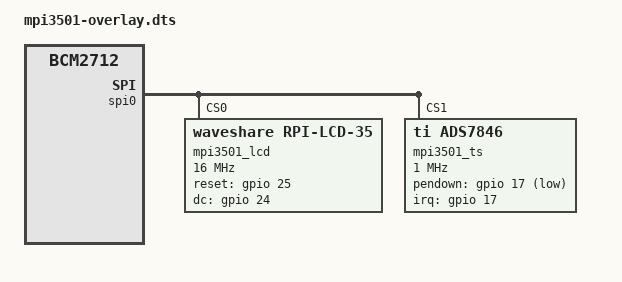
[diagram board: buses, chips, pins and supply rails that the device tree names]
/*
 * Device Tree Overlay for MPI3501 3.5" Raspberry Pi Touch Display
 *
 * Hardware:
 *   - Display Controller : Ilitek ILI9486 (480x320, RGB565)
 *   - SPI Bridge         : 74HC4040 x3 + 74HC04D (16-bit serial-to-parallel)
 *   - Touch Controller   : XPT2046 / HR2046 (ADS7846 compatible, 8-bit SPI)
 *
 * Pin Mapping (26-pin Raspberry Pi GPIO header):
 *   - Pin 18 (GPIO 24)          : LCD DC / RS
 *   - Pin 22 (GPIO 25)          : LCD Reset (Active LOW on hardware)
 *   - Pin 24 (GPIO 8, SPI0 CE0) : LCD Chip Select
 *   - Pin 26 (GPIO 7, SPI0 CE1) : Touch Chip Select
 *   - Pin 11 (GPIO 17)          : Touch Pen-Down Interrupt (Active LOW)
 *   - Pin 19 (GPIO 10)          : SPI0 MOSI
 *   - Pin 21 (GPIO 9)           : SPI0 MISO
 *   - Pin 23 (GPIO 11)          : SPI0 SCLK
 *
 * Compile directly with dtc (no C preprocessor required):
 *   dtc -@ -I dts -O dtb -o overlays/mpi3501.dtbo overlays/mpi3501-overlay.dts
 */

/dts-v1/;
/plugin/;

/ {
	compatible = "brcm,bcm2835", "brcm,bcm2711", "brcm,bcm2712";

	/* Enable SPI0 controller */
	fragment@0 {
		target = <&spi0>;
		__overlay__ {
			status = "okay";
		};
	};

	/* Disable generic spidev on CE0 (used by ILI9486 LCD) */
	fragment@1 {
		target = <&spidev0>;
		__overlay__ {
			status = "disabled";
		};
	};

	/* Disable generic spidev on CE1 (used by XPT2046 Touch) */
	fragment@2 {
		target = <&spidev1>;
		__overlay__ {
			status = "disabled";
		};
	};

	/* Configure MPI3501 control GPIOs (leaves GPIO 22 / Pin 15 free) */
	fragment@3 {
		target = <&gpio>;
		__overlay__ {
			mpi3501_pins: mpi3501_pins {
				brcm,pins = <17 25 24>;     /* T_IRQ, LCD_RST, LCD_DC */
				brcm,function = <0 1 1>;    /* in, out, out */
				brcm,pull = <2 0 0>;        /* pull-up on T_IRQ, none on outputs */
			};
		};
	};

	/* Configure ILI9486 LCD (CE0) and XPT2046 Touch (CE1) on SPI0 */
	fragment@4 {
		target = <&spi0>;
		__overlay__ {
			#address-cells = <1>;
			#size-cells = <0>;

			mpi3501_lcd: mpi3501@0 {
				compatible = "waveshare,rpi-lcd-35";
				reg = <0>;
				pinctrl-names = "default";
				pinctrl-0 = <&mpi3501_pins>;

				spi-max-frequency = <16000000>;
				rotation = <180>;
				rotate = <180>;
				bgr;
				fps = <30>;
				buswidth = <8>;
				regwidth = <16>;

				/*
				 * Note: In Linux drm_mipi_dbi (mipi_dbi_hw_reset), the driver asserts
				 * reset with gpiod_set_value(0) and releases with gpiod_set_value(1).
				 * Therefore GPIO_ACTIVE_HIGH (0) is required for DRM mode so physical
				 * GPIO 25 goes LOW to reset and stays HIGH during normal operation.
				 */
				reset-gpios = <&gpio 25 0>; /* 0 = GPIO_ACTIVE_HIGH */
				dc-gpios = <&gpio 24 0>;    /* 0 = GPIO_ACTIVE_HIGH */
				debug = <0>;

				/* Fallback init sequence if switched to legacy fbtft mode */
				init = <0x10000b0 0x00
				        0x1000011
				        0x20000ff
				        0x100003a 0x55
				        0x1000036 0x28
				        0x10000c2 0x44
				        0x10000c5 0x00 0x00 0x00 0x00
				        0x10000e0 0x0f 0x1f 0x1c 0x0c 0x0f 0x08 0x48 0x98 0x37 0x0a 0x13 0x04 0x11 0x0d 0x00
				        0x10000e1 0x0f 0x32 0x2e 0x0b 0x0d 0x05 0x47 0x75 0x37 0x06 0x10 0x03 0x24 0x20 0x00
				        0x10000e2 0x0f 0x32 0x2e 0x0b 0x0d 0x05 0x47 0x75 0x37 0x06 0x10 0x03 0x24 0x20 0x00
				        0x1000011
				        0x1000029>;
			};

			mpi3501_ts: mpi3501-ts@1 {
				compatible = "ti,ads7846";
				reg = <1>;

				spi-max-frequency = <1000000>;
				interrupts = <17 2>;        /* GPIO 17, high-to-low falling edge */
				interrupt-parent = <&gpio>;
				pendown-gpio = <&gpio 17 1>; /* 1 = GPIO_ACTIVE_LOW */

				/* Factory MPI3501 ADC bounds (from goodtft/LCD-show) */
				ti,x-min = /bits/ 16 <268>;
				ti,x-max = /bits/ 16 <3880>;
				ti,y-min = /bits/ 16 <227>;
				ti,y-max = /bits/ 16 <3936>;

				/*
				 * CRITICAL FIX for dead zones on high-X side of the screen:
				 * In drivers/input/touchscreen/ads7846.c:
				 *   Rt = (z2 - z1) * x_plate_ohms * x / (4096 * z1)
				 *   if (Rt > pressure_max) return; // drops touch!
				 * With x_plate_ohms=60..100 and pressure_max=255, touches where
				 * x > 2500 produce Rt > 255 and get silently dropped!
				 * Setting x-plate-ohms=15 and pressure-max=4095 prevents false drops.
				 */
				ti,x-plate-ohms = /bits/ 16 <15>;
				ti,pressure-max = /bits/ 16 <4095>;

				/* Settling & pen-up recheck to prevent lift-off mistouches */
				ti,settle-delay-usec = /bits/ 16 <150>;
				ti,penirq-recheck-delay-usecs = /bits/ 16 <100>;
				ti,debounce-max = /bits/ 16 <5>;
				ti,debounce-tol = /bits/ 16 <300>;
				ti,debounce-rep = /bits/ 16 <0>;
				wakeup-source;
			};
		};
	};

	__overrides__ {
		speed =  <&mpi3501_lcd>,"spi-max-frequency:0";
		rotate = <&mpi3501_lcd>,"rotation:0",
		         <&mpi3501_lcd>,"rotate:0";
		fps =    <&mpi3501_lcd>,"fps:0";
		debug =  <&mpi3501_lcd>,"debug:0";
		xohms =  <&mpi3501_ts>,"ti,x-plate-ohms;0";
		xmin =   <&mpi3501_ts>,"ti,x-min;0";
		xmax =   <&mpi3501_ts>,"ti,x-max;0";
		ymin =   <&mpi3501_ts>,"ti,y-min;0";
		ymax =   <&mpi3501_ts>,"ti,y-max;0";
		invx =   <&mpi3501_ts>,"touchscreen-inverted-x?";
		invy =   <&mpi3501_ts>,"touchscreen-inverted-y?";
		swapxy = <&mpi3501_ts>,"touchscreen-swapped-x-y?";
		legacy = <&mpi3501_lcd>,"compatible=ilitek,ili9486",
		         <&mpi3501_lcd>,"reset-gpios:8=",<1>;
	};
};
